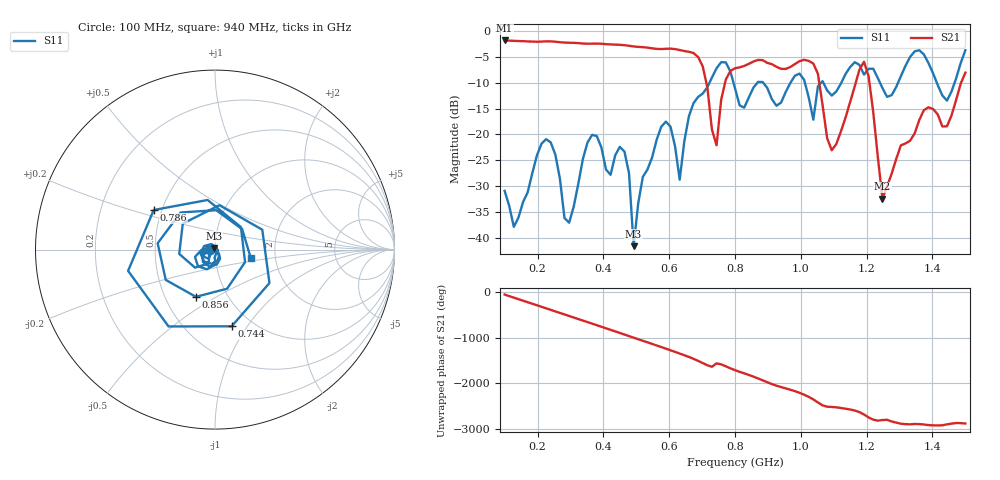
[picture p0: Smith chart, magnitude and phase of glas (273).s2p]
! NanoVNA-App
! Date: 2025-09-25 15:57:36
! Start: 100MHz Stop: 1,5GHz Points: 101
! S-Parameter data: F S11 S21 S12 S22
# Hz S RI R 50
!  Frequency  S11_Real  S11_Imag  S21_Real  S21_Imag  S12_Real  S12_Imag  S22_Real  S22_Imag
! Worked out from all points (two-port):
!   101 points, 100 MHz to 1.5 GHz, reference 50 ohm
!   highest |S21| = -1.80 dB at 100 MHz (marker M1); lowest = -32.4 dB at 1.248 GHz (marker M2)
!   |S21| within 3 dB of the highest: start of sweep to 684.2 MHz
!   lowest |S11| = -41.7 dB at 492 MHz (marker M3), VSWR 1.02, Z = 49.5 + j0.617 ohm
!   |S11| at or under -10 dB: start of sweep to 722.5 MHz; 795.4 MHz to 867.9 MHz (72.54 MHz wide, 8.72 % of centre); 885.8 MHz to 968.5 MHz (82.69 MHz wide, 8.92 % of centre) (the widest 3 of 7)
!   S12 and S22 are empty: the file has one direction only
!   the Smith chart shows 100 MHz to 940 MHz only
!   S11 on the Smith chart (normalised r, x): 100 MHz: 0.95, -0.01; 744 MHz: 0.80, -0.85; 786 MHz: 0.45, +0.24; 856 MHz: 0.71, -0.41; 940 MHz: 1.49, -0.14
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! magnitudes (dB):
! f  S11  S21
! 100 MHz  -30.9  -1.8
! 128 MHz  -37.9  -1.9
! 226 MHz  -20.9  -2.0
! 296 MHz  -37.1  -2.2
! 338 MHz  -24.7  -2.4
! 464 MHz  -23.3  -2.7
! 492 MHz  -41.7  -3.0
! 576 MHz  -18.5  -3.5
! 632 MHz  -28.8  -3.7
! 702 MHz  -12.1  -6.8
! 744 MHz  -7.2  -22.1
! 786 MHz  -7.8  -7.7
! 800 MHz  -11.1  -7.2
! 856 MHz  -10.9  -5.9
! 940 MHz  -13.8  -7.3
! 1.038 GHz  -17.1  -6.3
! 1.094 GHz  -12.5  -23.1
! 1.192 GHz  -8.4  -5.9
! 1.248 GHz  -11.0  -32.4
! 1.276 GHz  -12.4  -27.6
! 1.444 GHz  -13.5  -18.4
! 1.5 GHz  -3.7  -8.0
